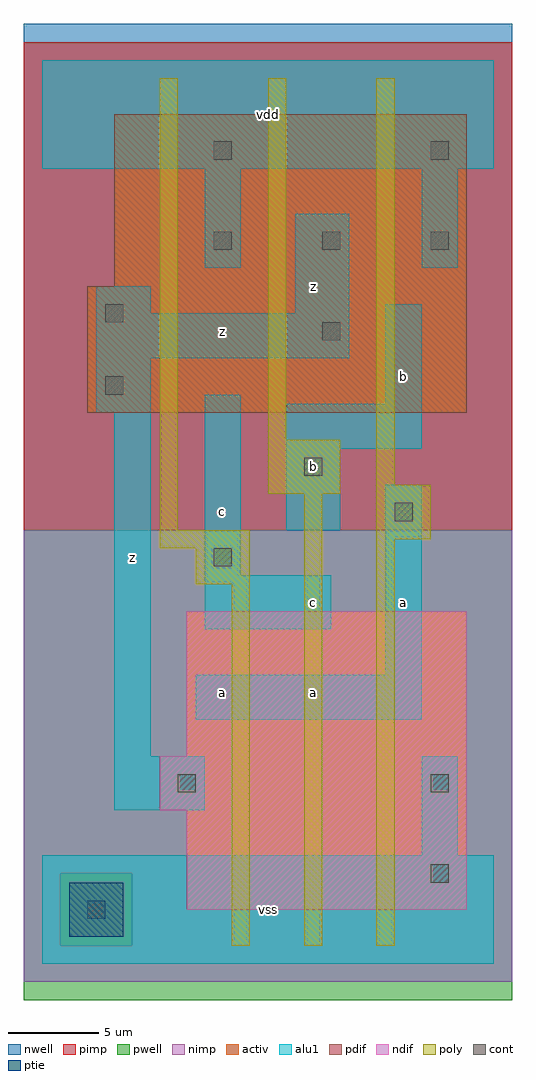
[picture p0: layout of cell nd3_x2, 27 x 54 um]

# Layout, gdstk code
import gdstk
lib = gdstk.Library(unit=1e-6, precision=1e-09)
def R(c, l, rs):  # rectangles x0, y0, x1, y1
    for r in rs: c.add(gdstk.rectangle(r[:2], r[2:], *l))
def A(c, l, x, y, w, h, nx, ny, dx, dy):  # array of equal rectangles
    R(c, l, [(x+i*dx, y+j*dy, x+i*dx+w, y+j*dy+h) for i in range(nx) for j in range(ny)])
ndif = (3, 0)
pdif = (4, 0)
ptie = (6, 0)
cont = (25, 0)
pwell = (41, 0)
nwell = (42, 0)
activ = (43, 0)
pimp = (44, 0)
nimp = (45, 0)
poly = (46, 0)
alu1 = (49, 0)

nd3_x2 = lib.new_cell('nd3_x2')
R(nd3_x2, ndif, [(8,3,23.5,8.5), (6.5,8.5,23.5,11.5), (8,11.5,23.5,19.5)])
R(nd3_x2, pdif, [(2.5,30.5,23.5,37.5), (4,37.5,23.5,47)])
R(nd3_x2, ptie, [(1.5,1.5,4.5,4.5)])
A(nd3_x2, cont, 9.5, 39.5, 1, 1, 3, 1, 6, 0)
R(nd3_x2, cont, [(2.5,2.5,3.5,3.5), (21.5,4.5,22.5,5.5), (7.5,9.5,8.5,10.5), (21.5,9.5,22.5,10.5), (9.5,22,10.5,23), (19.5,24.5,20.5,25.5), (14.5,27,15.5,28), (3.5,31.5,4.5,32.5), (15.5,34.5,16.5,35.5), (3.5,35.5,4.5,36.5), (9.5,44.5,10.5,45.5), (21.5,44.5,22.5,45.5)])
R(nd3_x2, pwell, [(-1,-2,26,24)])
R(nd3_x2, nwell, [(-1,24,26,52)])
R(nd3_x2, activ, [(1.5,1.5,4.5,4.5), (8,3,23.5,8.5), (6.5,8.5,23.5,11.5), (8,11.5,23.5,19.5), (2.5,30.5,23.5,37.5), (4,37.5,23.5,47)])
R(nd3_x2, pimp, [(1,1,5,5), (-1,24,26,51)])
R(nd3_x2, nimp, [(-1,-1,26,1), (-1,1,1,5), (5,1,26,5), (-1,5,26,24)])
R(nd3_x2, poly, [(10.5,1,11.5,21), (14.5,1,15.5,26), (18.5,1,19.5,23.5), (8.5,21,11.5,23), (6.5,23,11.5,24), (18.5,23.5,21.5,26.5), (6.5,24,7.5,49), (12.5,26,16.5,29), (18.5,26.5,19.5,49), (12.5,29,13.5,49)])
R(nd3_x2, alu1, [(0,0,25,6), (21,6,23,11.5), (4,8.5,9,11.5), (4,11.5,6,30.5), (8.5,13.5,21,16), (19,16,21,26.5), (9,18.5,16,21.5), (9,21.5,11,31.5), (13.5,24,16.5,28.5), (13.5,28.5,21,31), (3,30.5,6,33.5), (19,31,21,36.5), (3,33.5,17,36), (3,36,6,37.5), (14,36,17,41.5), (9,38.5,11,44), (21,38.5,23,44), (0,44,25,50)])
nd3_x2.add(gdstk.Label('z', (5,22.5), layer=49, texttype=0))
nd3_x2.add(gdstk.Label('a', (10,15), layer=49, texttype=0))
nd3_x2.add(gdstk.Label('c', (10,25), layer=49, texttype=0))
nd3_x2.add(gdstk.Label('z', (10,35), layer=49, texttype=0))
nd3_x2.add(gdstk.Label('vss', (12.5,3), layer=49, texttype=0))
nd3_x2.add(gdstk.Label('c', (15,20), layer=49, texttype=0))
nd3_x2.add(gdstk.Label('a', (15,15), layer=49, texttype=0))
nd3_x2.add(gdstk.Label('b', (15,27.5), layer=49, texttype=0))
nd3_x2.add(gdstk.Label('z', (15,37.5), layer=49, texttype=0))
nd3_x2.add(gdstk.Label('vdd', (12.5,47), layer=49, texttype=0))
nd3_x2.add(gdstk.Label('a', (20,20), layer=49, texttype=0))
nd3_x2.add(gdstk.Label('b', (20,32.5), layer=49, texttype=0))

lib.write_gds('nd3_x2.gds')
